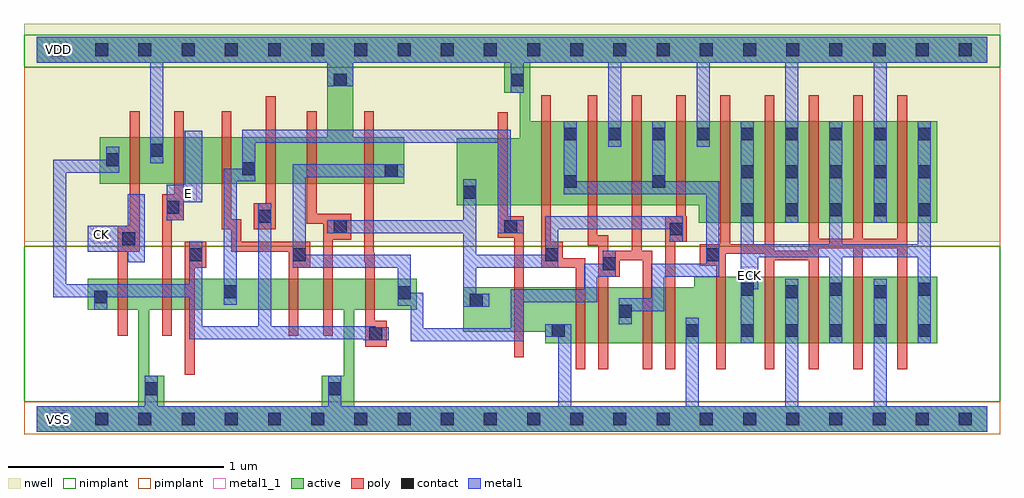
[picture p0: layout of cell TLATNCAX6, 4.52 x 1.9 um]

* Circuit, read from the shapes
.subckt TLATNCAX6 CK E ECK VDD VSS
M1 VSS CK n1 VSS nfet w=0.145u l=0.045u
M2 n2 E VSS VSS nfet w=0.145u l=0.045u
M3 n3 n1 n2 VSS nfet w=0.145u l=0.045u
M4 n4 n5 n3 VSS nfet w=0.145u l=0.045u
M5 VSS n6 n4 VSS nfet w=0.145u l=0.045u
M6 n5 n1 VSS VSS nfet w=0.145u l=0.045u
M7 VSS n3 n6 VSS nfet w=0.205u l=0.045u
M8 n7 n6 VSS VSS nfet w=0.26u l=0.045u
M9 n8 n5 n7 VSS nfet w=0.26u l=0.045u
M10 n9 n5 n8 VSS nfet w=0.26u l=0.045u
M11 VSS n6 n9 VSS nfet w=0.26u l=0.045u
M12 ECK n8 VSS VSS nfet w=0.31u l=0.045u m=5
M13 VDD CK n1 VDD pfet w=0.215u l=0.045u
M14 n10 E VDD VDD pfet w=0.215u l=0.045u
M15 n3 n5 n10 VDD pfet w=0.215u l=0.045u
M16 n11 n1 n3 VDD pfet w=0.215u l=0.045u
M17 VDD n6 n11 VDD pfet w=0.215u l=0.045u
M18 n5 n1 VDD VDD pfet w=0.215u l=0.045u
M19 VDD n3 n6 VDD pfet w=0.31u l=0.045u
M20 n8 n6 VDD VDD pfet w=0.39u l=0.045u m=2
M21 VDD n5 n8 VDD pfet w=0.39u l=0.045u m=2
M22 ECK n8 VDD VDD pfet w=0.47u l=0.045u m=5
.ends

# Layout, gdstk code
import gdstk
lib = gdstk.Library(unit=1e-6, precision=5e-10)
def R(c, l, rs):  # rectangles x0, y0, x1, y1
    for r in rs: c.add(gdstk.rectangle(r[:2], r[2:], *l))
def A(c, l, x, y, w, h, nx, ny, dx, dy):  # array of equal rectangles
    R(c, l, [(x+i*dx, y+j*dy, x+i*dx+w, y+j*dy+h) for i in range(nx) for j in range(ny)])
def P(c, l, *ps):  # polygons
    for p in ps: c.add(gdstk.Polygon(p, *l))
active = (1, 0)
nwell = (2, 0)
poly = (3, 0)
nimplant = (4, 0)
pimplant = (5, 0)
contact = (6, 0)
metal1 = (7, 0)
metal1_1 = (7, 1)

tlatncax6 = lib.new_cell('TLATNCAX6')
P(tlatncax6, active, [(0,1.77),(4.4,1.77),(4.4,1.65),(2.285,1.65),(2.285,1.38),(4.17,1.38),(4.17,0.91),(3.065,0.91),(3.065,0.99),(1.945,0.99),(1.945,1.3),(2.235,1.3),(2.235,1.51),(2.165,1.51),(2.165,1.65),(1.465,1.65),(1.465,1.305),(1.7,1.305),(1.7,1.09),(0.29,1.09),(0.29,1.305),(1.345,1.305),(1.345,1.65),(0,1.65)],
  [(0.235,0.65),(1.76,0.65),(1.76,0.505),(1.47,0.505),(1.47,0.06),(4.4,0.06),(4.4,-0.06),(0,-0.06),(0,0.06),(0.47,0.06),(0.47,0.505),(0.52,0.505),(0.52,0.2),(0.59,0.2),(0.59,0.06),(1.32,0.06),(1.32,0.2),(1.42,0.2),(1.42,0.505),(0.235,0.505)],
  [(3.045,0.66),(4.17,0.66),(4.17,0.35),(2.355,0.35),(2.355,0.405),(1.975,0.405),(1.975,0.61),(3.045,0.61)])
R(tlatncax6, nwell, [(-0.06,0.82,4.46,1.83)])
P(tlatncax6, poly, [(0.43,1.425),(0.475,1.425),(0.475,0.775),(0.42,0.775),(0.42,0.385),(0.375,0.385),(0.375,0.895),(0.43,0.895)],
  [(0.635,1.425),(0.68,1.425),(0.68,0.92),(0.625,0.92),(0.625,0.385),(0.58,0.385),(0.58,1.04),(0.635,1.04)],
  [(0.855,1.425),(0.9,1.425),(0.9,0.925),(0.945,0.925),(0.945,0.82),(1.265,0.82),(1.265,0.7),(1.21,0.7),(1.21,0.385),(1.165,0.385),(1.165,0.775),(0.9,0.775),(0.9,0.88),(0.855,0.88)],
  [(1.06,1.495),(1.105,1.495),(1.105,0.88),(1.005,0.88),(1.005,1),(1.06,1)],
  [(1.25,1.425),(1.295,1.425),(1.295,0.95),(1.455,0.95),(1.455,0.83),(1.37,0.83),(1.37,0.385),(1.325,0.385),(1.325,0.905),(1.25,0.905)],
  [(1.515,1.425),(1.56,1.425),(1.56,0.77),(1.565,0.77),(1.565,0.455),(1.62,0.455),(1.62,0.335),(1.52,0.335),(1.52,0.725),(1.515,0.725)],
  [(2.135,1.42),(2.18,1.42),(2.18,0.94),(2.255,0.94),(2.255,0.285),(2.21,0.285),(2.21,0.84),(2.135,0.84)],
  [(2.335,1.5),(2.38,1.5),(2.38,0.82),(2.435,0.82),(2.435,0.745),(2.54,0.745),(2.54,0.23),(2.495,0.23),(2.495,0.7),(2.335,0.7)],
  [(2.55,1.5),(2.595,1.5),(2.595,0.85),(2.645,0.85),(2.645,0.78),(2.755,0.78),(2.755,1.5),(2.8,1.5),(2.8,0.78),(2.85,0.78),(2.85,0.23),(2.805,0.23),(2.805,0.735),(2.7,0.735),(2.7,0.66),(2.645,0.66),(2.645,0.23),(2.6,0.23),(2.6,0.805),(2.55,0.805)],
  [(2.96,1.5),(3.005,1.5),(3.005,0.94),(3.01,0.94),(3.01,0.82),(2.955,0.82),(2.955,0.23),(2.91,0.23),(2.91,0.94),(2.96,0.94)],
  [(3.165,1.5),(3.21,1.5),(3.21,0.81),(3.37,0.81),(3.37,1.5),(3.415,1.5),(3.415,0.78),(3.575,0.78),(3.575,1.5),(3.62,1.5),(3.62,0.835),(3.78,0.835),(3.78,1.5),(3.825,1.5),(3.825,0.835),(3.985,0.835),(3.985,1.5),(4.03,1.5),(4.03,0.23),(3.985,0.23),(3.985,0.79),(3.825,0.79),(3.825,0.23),(3.78,0.23),(3.78,0.79),(3.62,0.79),(3.62,0.23),(3.575,0.23),(3.575,0.735),(3.415,0.735),(3.415,0.23),(3.37,0.23),(3.37,0.765),(3.19,0.765),(3.19,0.23),(3.145,0.23),(3.145,0.71),(3.07,0.71),(3.07,0.81),(3.165,0.81)],
  [(0.685,0.82),(0.785,0.82),(0.785,0.7),(0.73,0.7),(0.73,0.205),(0.685,0.205)])
R(tlatncax6, nimplant, [(-0.06,0.08,4.46,0.8), (-0.06,1.63,4.46,1.78)])
R(tlatncax6, pimplant, [(-0.06,-0.07,4.46,0.08), (-0.06,0.8,4.46,1.63)])
A(tlatncax6, contact, 0.07, -0.03, 0.06, 0.06, 22, 2, 0.2, 1.71)
A(tlatncax6, contact, 3.26, 0.38, 0.06, 0.06, 5, 2, 0.205, 0.56)
A(tlatncax6, contact, 3.26, 0.57, 0.06, 0.06, 3, 1, 0.41, 0)
A(tlatncax6, contact, 3.26, 1.115, 0.06, 0.06, 5, 1, 0.205, 0)
A(tlatncax6, contact, 2.44, 1.29, 0.06, 0.06, 9, 1, 0.205, 0)
R(tlatncax6, contact, [(0.5,0.11,0.56,0.17), (1.35,0.11,1.41,0.17), (1.54,0.365,1.6,0.425), (2.385,0.38,2.445,0.44), (3.005,0.38,3.065,0.44), (2.695,0.47,2.755,0.53), (2.005,0.52,2.065,0.58), (0.265,0.535,0.325,0.595), (1.67,0.555,1.73,0.615), (0.865,0.56,0.925,0.62), (3.465,0.56,3.525,0.62), (3.875,0.56,3.935,0.62), (2.62,0.69,2.68,0.75), (0.705,0.73,0.765,0.79), (1.185,0.73,1.245,0.79), (2.355,0.73,2.415,0.79), (3.1,0.73,3.16,0.79), (0.395,0.805,0.455,0.865), (2.93,0.85,2.99,0.91), (1.375,0.86,1.435,0.92), (2.165,0.86,2.225,0.92), (1.025,0.91,1.085,0.97), (0.6,0.95,0.66,1.01), (1.975,1.02,2.035,1.08), (2.44,1.07,2.5,1.13), (2.85,1.07,2.91,1.13), (1.61,1.12,1.67,1.18), (0.95,1.13,1.01,1.19), (0.32,1.17,0.38,1.23), (0.525,1.215,0.585,1.275), (1.375,1.54,1.435,1.6), (2.195,1.54,2.255,1.6)])
P(tlatncax6, metal1, [(0,1.77),(4.4,1.77),(4.4,1.65),(3.935,1.65),(3.935,0.91),(3.875,0.91),(3.875,1.65),(3.525,1.65),(3.525,0.91),(3.465,0.91),(3.465,1.65),(3.115,1.65),(3.115,1.26),(3.055,1.26),(3.055,1.65),(2.705,1.65),(2.705,1.26),(2.645,1.26),(2.645,1.65),(2.255,1.65),(2.255,1.51),(2.195,1.51),(2.195,1.65),(1.465,1.65),(1.465,1.54),(1.345,1.54),(1.345,1.65),(0.585,1.65),(0.585,1.185),(0.525,1.185),(0.525,1.65),(0,1.65)],
  [(0.95,1.34),(2.195,1.34),(2.195,0.92),(2.255,0.92),(2.255,0.86),(2.135,0.86),(2.135,1.28),(1.01,1.28),(1.01,1.1),(0.925,1.1),(0.925,0.53),(0.865,0.53),(0.865,1.16),(0.95,1.16)],
  [(0.32,1.26),(0.38,1.26),(0.38,1.14),(0.135,1.14),(0.135,0.625),(0.705,0.625),(0.705,0.82),(0.765,0.82),(0.765,0.43),(1.025,0.43),(1.025,1),(1.085,1),(1.085,0.43),(1.57,0.43),(1.57,0.425),(1.63,0.425),(1.63,0.365),(1.51,0.365),(1.51,0.37),(0.705,0.37),(0.705,0.565),(0.325,0.565),(0.325,0.505),(0.265,0.505),(0.265,0.565),(0.075,0.565),(0.075,1.2),(0.32,1.2)],
  [(1.185,1.18),(1.7,1.18),(1.7,1.12),(1.245,1.12),(1.245,0.76),(1.73,0.76),(1.73,0.585),(1.79,0.585),(1.79,0.42),(2.195,0.42),(2.195,0.6),(2.535,0.6),(2.535,0.72),(2.62,0.72),(2.62,0.78),(2.68,0.78),(2.68,0.66),(2.595,0.66),(2.595,0.54),(2.255,0.54),(2.255,0.36),(1.73,0.36),(1.73,0.525),(1.67,0.525),(1.67,0.7),(1.185,0.7)],
  [(0.685,1.335),(0.765,1.335),(0.765,1.005),(0.68,1.005),(0.68,0.92),(0.6,0.92),(0.6,1.085),(0.685,1.085)],
  [(0.42,1.04),(0.5,1.04),(0.5,0.725),(0.42,0.725),(0.42,0.775),(0.235,0.775),(0.235,0.895),(0.42,0.895)],
  [(1.975,1.11),(2.035,1.11),(2.035,0.76),(2.355,0.76),(2.355,0.94),(2.99,0.94),(2.99,0.82),(2.93,0.82),(2.93,0.88),(2.415,0.88),(2.415,0.7),(2.035,0.7),(2.035,0.58),(2.095,0.58),(2.095,0.52),(1.975,0.52),(1.975,0.86),(1.345,0.86),(1.345,0.92),(1.975,0.92)],
  [(2.44,1.38),(2.5,1.38),(2.5,1.1),(2.85,1.1),(2.85,1.38),(2.91,1.38),(2.91,1.1),(3.16,1.1),(3.16,0.66),(2.905,0.66),(2.905,0.5),(2.755,0.5),(2.755,0.44),(2.695,0.44),(2.695,0.56),(2.845,0.56),(2.845,0.72),(3.1,0.72),(3.1,1.04),(2.44,1.04)],
  [(3.26,1.38),(3.32,1.38),(3.32,0.81),(3.67,0.81),(3.67,1.38),(3.73,1.38),(3.73,0.81),(4.08,0.81),(4.08,1.38),(4.14,1.38),(4.14,0.35),(4.08,0.35),(4.08,0.75),(3.73,0.75),(3.73,0.35),(3.67,0.35),(3.67,0.75),(3.34,0.75),(3.34,0.6),(3.32,0.6),(3.32,0.35),(3.26,0.35)],
  [(2.355,0.44),(2.475,0.44),(2.475,0.06),(3.005,0.06),(3.005,0.47),(3.065,0.47),(3.065,0.06),(3.465,0.06),(3.465,0.65),(3.525,0.65),(3.525,0.06),(3.875,0.06),(3.875,0.65),(3.935,0.65),(3.935,0.06),(4.4,0.06),(4.4,-0.06),(0,-0.06),(0,0.06),(0.5,0.06),(0.5,0.2),(0.56,0.2),(0.56,0.06),(1.35,0.06),(1.35,0.2),(1.41,0.2),(1.41,0.06),(2.415,0.06),(2.415,0.38),(2.355,0.38)])
R(tlatncax6, metal1_1, [(0.06,-0.04,0.14,0.04), (3.26,0.625,3.34,0.705), (0.26,0.815,0.34,0.895), (0.66,1.005,0.74,1.085), (0.06,1.67,0.14,1.75)])
tlatncax6.add(gdstk.Label('ECK', (3.3,0.665), layer=7, texttype=1))
tlatncax6.add(gdstk.Label('E', (0.7,1.045), layer=7, texttype=1))
tlatncax6.add(gdstk.Label('CK', (0.3,0.855), layer=7, texttype=1))
tlatncax6.add(gdstk.Label('VDD', (0.1,1.71), layer=7, texttype=1))
tlatncax6.add(gdstk.Label('VSS', (0.1,0), layer=7, texttype=1))
tlatncax6.add(gdstk.Label('TLATNCAX6', (0,0), layer=63, texttype=0))

lib.write_gds('TLATNCAX6.gds')
